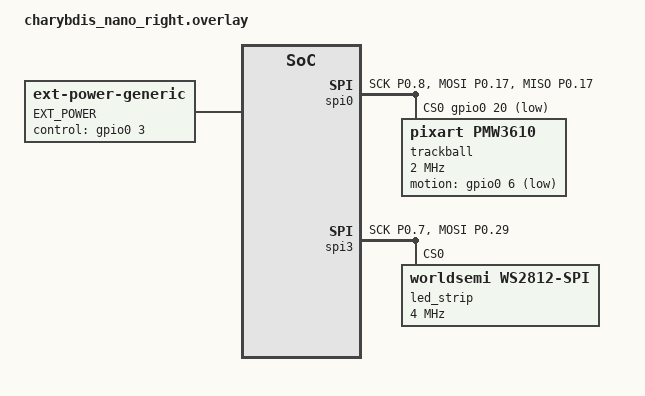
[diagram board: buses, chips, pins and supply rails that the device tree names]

 
#include "charybdis_nano.dtsi"

&default_transform {
    col-offset = <6>;
};

&kscan0 {
    diode-direction = "col2row";
    col-gpios
        = <&gpio0 22 GPIO_ACTIVE_HIGH>
        , <&gpio0 24 GPIO_ACTIVE_HIGH>
        , <&gpio1 0 GPIO_ACTIVE_HIGH>
        , <&gpio0 11 GPIO_ACTIVE_HIGH>
        , <&gpio1 4 GPIO_ACTIVE_HIGH>
        , <&gpio1 6 GPIO_ACTIVE_HIGH>
        ;
    
};
/ {
    lfclk: lfclk {
        compatible = "fixed-clock";
        clock-frequency = <32768>;
        #clock-cells = <0>;
        status = "okay";
    };
};
&pinctrl {
    spi0_default: spi0_default {
        group1 {
            psels = <NRF_PSEL(SPIM_SCK, 0, 8)>,
                <NRF_PSEL(SPIM_MOSI, 0, 17)>,
                <NRF_PSEL(SPIM_MISO, 0, 17)>;
        };
    };

    spi0_sleep: spi0_sleep {
        group1 {
            psels = <NRF_PSEL(SPIM_SCK, 0, 8)>,
                <NRF_PSEL(SPIM_MOSI, 0, 17)>,
                <NRF_PSEL(SPIM_MISO, 0, 17)>;
            low-power-enable;
        };
    };
};

&spi0 {
    status = "okay";
    compatible = "nordic,nrf-spim";
    pinctrl-0 = <&spi0_default>;
    pinctrl-1 = <&spi0_sleep>;
    pinctrl-names = "default", "sleep";
    cs-gpios = <&gpio0 20 GPIO_ACTIVE_LOW>;

    trackball: trackball@0 {
        status = "okay";
        compatible = "pixart,pmw3610";
        reg = <0>;
        spi-max-frequency = <2000000>;
        motion-gpios = <&gpio0 6 (GPIO_ACTIVE_LOW | GPIO_PULL_UP)>;
        // scroll-layers = <1>;
        //  snipe-layers = <2>;
        invert-x;
        invert-y;
        zephyr,axis-x = <INPUT_REL_X>;
        zephyr,axis-y = <INPUT_REL_Y>;
      // automouse-layer = <3>;
    };
};

/ {
    temp_layer_processor: temp_layer_processor {
        compatible = "zmk,input-processor-temp-layer";
        #input-processor-cells = <2>;   /* ← 加这行，告诉编译器需要 2 个参数 */
    };

    trackball_listener {
        compatible = "zmk,input-listener";
        device = <&trackball>;
        input-processors = <&temp_layer_processor 3 500>;/*  3层 500ms timeout*/
    };

    xy_transf: xy_transf {
            compatible = "zmk,input-processor-transform";
            #input-processor-cells = <1>;
            type = <INPUT_EV_REL>;
            x-codes = <INPUT_REL_X>, <INPUT_REL_WHEEL>;
            y-codes = <INPUT_REL_Y>, <INPUT_REL_HWHEEL>;
    };
};
#include <dt-bindings/led/led.h>

&pinctrl {
    spi3_default: spi3_default {
        group1 {
            psels = <
                NRF_PSEL(SPIM_SCK, 0, 7)
                NRF_PSEL(SPIM_MOSI, 0, 29)
            >;
            
        };
    };

    spi3_sleep: spi3_sleep {
        group1 {
             psels = <
                NRF_PSEL(SPIM_SCK, 0, 7)
                NRF_PSEL(SPIM_MOSI, 0, 29)
            >;
            low-power-enable;
        };
    };
};

&spi3 {
    compatible = "nordic,nrf-spim";
    status = "okay";

    pinctrl-0 = <&spi3_default>;
    pinctrl-1 = <&spi3_sleep>;
    pinctrl-names = "default", "sleep";

    led_strip: ws2812@0 {
        compatible = "worldsemi,ws2812-spi";

               reg = <0>; /* ignored, but necessary for SPI bindings */
        spi-max-frequency = <4000000>;

        /* WS2812 */
        chain-length = <48>; /* number of LEDs */
        spi-one-frame = <0x70>;
        spi-zero-frame = <0x40>;
        color-mapping = <LED_COLOR_ID_GREEN
                         LED_COLOR_ID_RED
                         LED_COLOR_ID_BLUE>;
    };
};

/
{
    chosen {
        // zmk,ext-power = &ex2;
        zmk,underglow = &led_strip;
    };

    EXT_POWER {
        compatible = "zmk,ext-power-generic";
        control-gpios = <&gpio0 3 GPIO_ACTIVE_HIGH>;
        init-delay-ms = <50>;
    };
};

